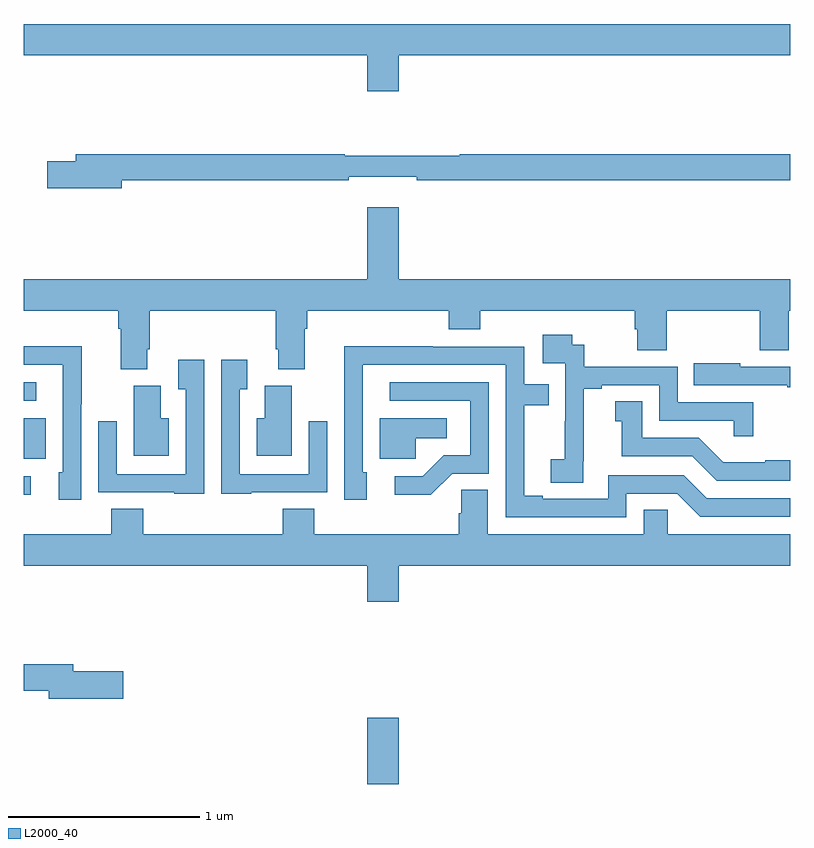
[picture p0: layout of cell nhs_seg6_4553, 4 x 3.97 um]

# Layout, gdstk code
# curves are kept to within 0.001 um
import gdstk
lib = gdstk.Library(unit=1e-6, precision=1e-09)
def R(c, l, rs):  # rectangles x0, y0, x1, y1
    for r in rs: c.add(gdstk.rectangle(r[:2], r[2:], *l))
def P(c, l, *ps):  # polygons
    for p in ps: c.add(gdstk.Polygon(p, *l))
L2000_40 = (2000, 40)

nhs_seg6_4553 = lib.new_cell('nhs_seg6_4553')
R(nhs_seg6_4553, L2000_40, [(380.792,975.5,380.956,975.847), (379,977.009,379.036,977.106), (379,977.199,379.114,977.41), (379,977.502,379.063,977.598)])
P(nhs_seg6_4553, L2000_40, [(380.956,979.304),(383,979.304),(383,979.468),(379,979.468),(379,979.304),(380.792,979.304),(380.792,979.116),(380.956,979.116)],
  [(379.51,978.652),(380.696,978.652),(380.696,978.671),(381.052,978.671),(381.052,978.652),(383,978.652),(383,978.788),(381.275,978.788),(381.275,978.781),(380.675,978.781),(380.675,978.788),(379.271,978.788),(379.271,978.752),(379.122,978.752),(379.122,978.61),(379.51,978.61)],
  [(379.645,977.77),(379.658,977.77),(379.658,977.972),(380.315,977.972),(380.315,977.77),(380.327,977.77),(380.327,977.665),(380.467,977.665),(380.467,977.876),(380.48,977.876),(380.48,977.972),(381.218,977.972),(381.218,977.873),(381.383,977.873),(381.383,977.972),(382.19,977.972),(382.19,977.874),(382.202,977.874),(382.202,977.764),(382.355,977.764),(382.355,977.972),(382.841,977.972),(382.841,977.764),(382.993,977.764),(382.993,977.972),(383,977.972),(383,978.136),(380.956,978.136),(380.956,978.511),(380.792,978.511),(380.792,978.136),(379,978.136),(379,977.972),(379.493,977.972),(379.493,977.876),(379.505,977.876),(379.505,977.665),(379.645,977.665)],
  [(381.92,977.185),(381.922,977.185),(381.922,977.563),(382.018,977.563),(382.018,977.583),(382.317,977.583),(382.317,977.397),(382.707,977.397),(382.707,977.316),(382.808,977.316),(382.808,977.493),(382.413,977.493),(382.413,977.679),(381.926,977.679),(381.926,977.793),(381.864,977.793),(381.864,977.845),(381.708,977.845),(381.708,977.697),(381.825,977.697),(381.825,977.393),(381.824,977.393),(381.824,977.196),(381.75,977.196),(381.75,977.074),(381.92,977.074)],
  [(382.146,977.016),(382.41,977.016),(382.53,976.896),(383,976.896),(383,976.992),(382.566,976.992),(382.446,977.112),(382.05,977.112),(382.05,976.989),(381.709,976.989),(381.709,977.004),(381.613,977.004),(381.613,977.478),(381.74,977.478),(381.74,977.586),(381.612,977.586),(381.612,977.784),(381.134,977.784),(381.134,977.786),(380.672,977.786),(380.673,976.983),(380.791,976.983),(380.791,977.127),(380.769,977.127),(380.769,977.688),(381.516,977.688),(381.516,976.893),(382.146,976.893)],
  [(379.299,977.482),(379.301,977.482),(379.301,977.786),(379,977.786),(379,977.688),(379.203,977.688),(379.203,977.127),(379.181,977.127),(379.181,976.983),(379.299,976.983)],
  [(379.941,977.716),(379.805,977.716),(379.805,977.56),(379.845,977.56),(379.845,977.118),(379.485,977.118),(379.485,977.395),(379.389,977.395),(379.389,977.022),(379.785,977.022),(379.785,977.015),(379.941,977.015)],
  [(380.187,977.022),(380.583,977.022),(380.583,977.395),(380.487,977.395),(380.487,977.118),(380.127,977.118),(380.127,977.56),(380.167,977.56),(380.167,977.716),(380.031,977.716),(380.031,977.015),(380.187,977.015)],
  [(383,977.679),(382.741,977.679),(382.741,977.698),(382.498,977.698),(382.498,977.583),(382.985,977.583),(382.985,977.571),(383,977.571)],
  [(381.237,977.121),(381.426,977.121),(381.426,977.598),(380.91,977.598),(380.91,977.502),(381.33,977.502),(381.33,977.217),(381.192,977.217),(381.081,977.106),(380.937,977.106),(380.937,977.009),(381.124,977.009)],
  [(379.756,977.41),(379.714,977.41),(379.714,977.58),(379.574,977.58),(379.574,977.213),(379.756,977.213)],
  [(380.398,977.58),(380.258,977.58),(380.258,977.41),(380.216,977.41),(380.216,977.213),(380.398,977.213)],
  [(383,977.191),(382.871,977.191),(382.871,977.179),(382.652,977.179),(382.524,977.307),(382.228,977.307),(382.228,977.498),(382.088,977.498),(382.088,977.395),(382.121,977.395),(382.121,977.211),(382.488,977.211),(382.617,977.082),(383,977.082)],
  [(381.045,977.306),(381.208,977.306),(381.208,977.41),(380.858,977.41),(380.858,977.199),(381.045,977.199)],
  [(380.956,976.64),(383,976.64),(383,976.804),(382.362,976.804),(382.362,976.931),(382.235,976.931),(382.235,976.804),(381.421,976.804),(381.421,977.036),(381.282,977.036),(381.282,976.913),(381.269,976.913),(381.269,976.804),(380.516,976.804),(380.516,976.937),(380.351,976.937),(380.351,976.804),(379.622,976.804),(379.622,976.937),(379.457,976.937),(379.457,976.804),(379,976.804),(379,976.64),(380.792,976.64),(380.792,976.452),(380.956,976.452)],
  [(379.519,976.088),(379.258,976.088),(379.258,976.124),(379,976.124),(379,975.988),(379.13,975.988),(379.13,975.946),(379.519,975.946)])

lib.write_gds('nhs_seg6_4553.gds')
